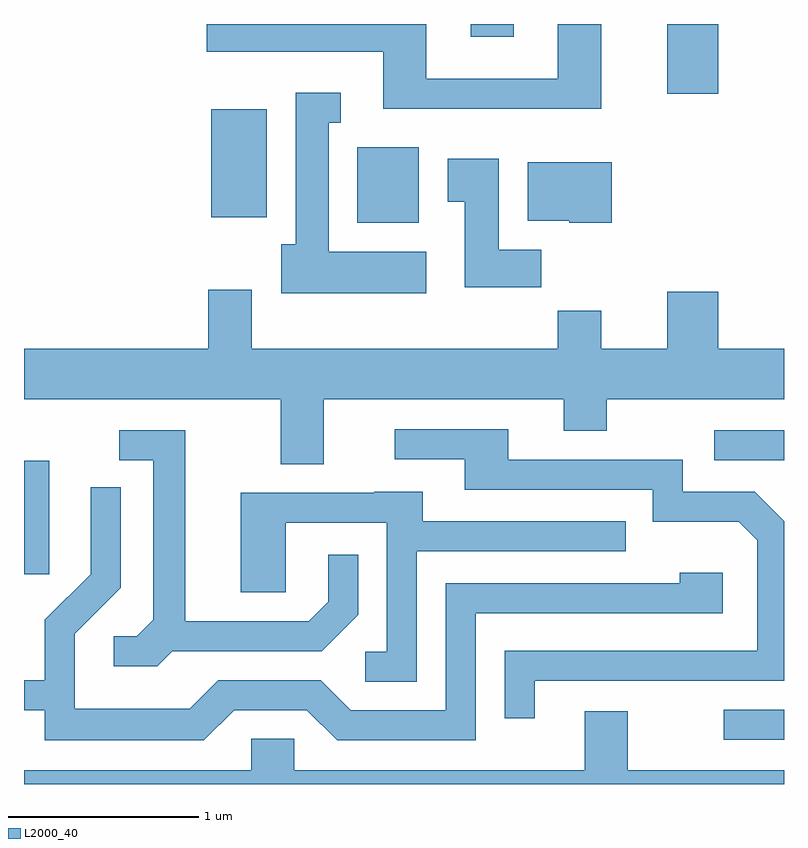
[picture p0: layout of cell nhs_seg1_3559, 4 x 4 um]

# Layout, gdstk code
import gdstk
lib = gdstk.Library(unit=1e-6, precision=1e-09)
def R(c, l, rs):  # rectangles x0, y0, x1, y1
    for r in rs: c.add(gdstk.rectangle(r[:2], r[2:], *l))
def P(c, l, *ps):  # polygons
    for p in ps: c.add(gdstk.Polygon(p, *l))
L2000_40 = (2000, 40)

nhs_seg1_3559 = lib.new_cell('nhs_seg1_3559')
R(nhs_seg1_3559, L2000_40, [(295.293,959.946,295.611,960.104), (291.611,960.816,291.744,961.414), (295.243,961.416,295.611,961.574), (293.366,962.666,293.689,963.064), (292.596,962.696,292.889,963.264), (294.996,963.346,295.264,963.712), (293.961,963.646,294.189,963.712)])
P(nhs_seg1_3559, L2000_40, [(294.649,963.712),(294.421,963.712),(294.421,963.424),(293.729,963.424),(293.729,963.712),(292.573,963.712),(292.573,963.566),(293.501,963.566),(293.501,963.266),(294.649,963.266)],
  [(293.729,962.514),(293.214,962.514),(293.214,963.191),(293.278,963.191),(293.278,963.349),(293.041,963.349),(293.041,962.554),(292.966,962.554),(292.966,962.296),(293.729,962.296)],
  [(294.334,962.524),(294.109,962.524),(294.109,963.004),(293.841,963.004),(293.841,962.776),(293.931,962.776),(293.931,962.326),(294.334,962.326)],
  [(294.704,962.984),(294.261,962.984),(294.261,962.676),(294.48,962.676),(294.48,962.666),(294.704,962.666)],
  [(295.611,962.004),(295.264,962.004),(295.264,962.304),(294.996,962.304),(294.996,962.004),(294.649,962.004),(294.649,962.204),(294.421,962.204),(294.421,962.004),(292.809,962.004),(292.809,962.314),(292.581,962.314),(292.581,962.004),(291.611,962.004),(291.611,961.736),(292.961,961.736),(292.961,961.396),(293.189,961.396),(293.189,961.736),(294.451,961.736),(294.451,961.571),(294.679,961.571),(294.679,961.736),(295.611,961.736)],
  [(294.299,960.256),(295.611,960.256),(295.611,961.095),(295.457,961.249),(295.079,961.249),(295.079,961.419),(294.159,961.419),(294.159,961.579),(293.563,961.579),(293.563,961.421),(293.931,961.421),(293.931,961.261),(294.921,961.261),(294.921,961.091),(295.374,961.091),(295.471,960.994),(295.471,960.414),(294.141,960.414),(294.141,960.058),(294.299,960.058)],
  [(292.392,960.411),(293.177,960.411),(293.369,960.604),(293.369,960.918),(293.211,960.918),(293.211,960.672),(293.109,960.569),(292.459,960.569),(292.459,961.574),(292.113,961.574),(292.113,961.416),(292.291,961.416),(292.291,960.577),(292.204,960.489),(292.083,960.489),(292.083,960.331),(292.312,960.331)],
  [(292.717,960.101),(293.099,960.101),(293.259,959.941),(293.989,959.941),(293.989,960.611),(295.289,960.611),(295.289,960.824),(295.061,960.824),(295.061,960.769),(293.831,960.769),(293.831,960.099),(293.332,960.099),(293.172,960.259),(292.634,960.259),(292.484,960.109),(291.879,960.109),(291.879,960.504),(292.119,960.744),(292.119,961.273),(291.961,961.273),(291.961,960.817),(291.721,960.577),(291.721,960.259),(291.611,960.259),(291.611,960.101),(291.721,960.101),(291.721,959.941),(292.557,959.941)],
  [(293.679,960.936),(294.778,960.936),(294.778,961.094),(293.709,961.094),(293.709,961.249),(293.455,961.249),(293.455,961.244),(292.751,961.244),(292.751,960.721),(292.989,960.721),(292.989,961.086),(293.521,961.086),(293.521,960.409),(293.408,960.409),(293.408,960.251),(293.679,960.251)],
  [(294.789,960.094),(294.561,960.094),(294.561,959.784),(293.034,959.784),(293.034,959.949),(292.806,959.949),(292.806,959.784),(291.611,959.784),(291.611,959.712),(295.611,959.712),(295.611,959.784),(294.789,959.784)])

lib.write_gds('nhs_seg1_3559.gds')
